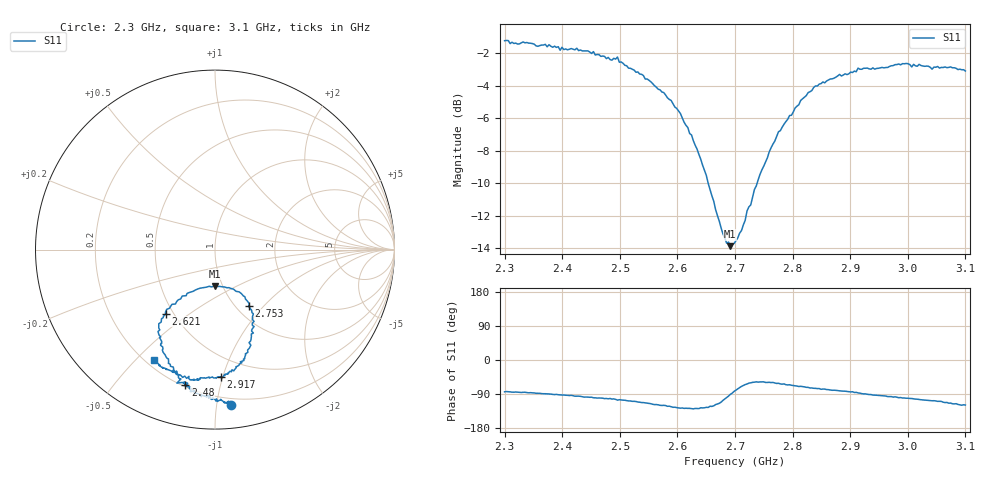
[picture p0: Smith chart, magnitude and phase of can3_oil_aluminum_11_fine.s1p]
# MHz S MA R 50
!  freq  S11
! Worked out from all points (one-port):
!   250 points, 2.3 GHz to 3.1 GHz, reference 50 ohm
!   lowest |S11| = -13.9 dB at 2.692 GHz (marker M1), VSWR 1.51, Z = 45.9 - j19.4 ohm
!   |S11| at or under -10 dB: 2.653 GHz to 2.738 GHz (84.86 MHz wide, 3.15 % of centre)
!   S11 on the Smith chart (normalised r, x): 2.3 GHz: 0.16, -1.10; 2.48 GHz: 0.21, -0.78; 2.621 GHz: 0.46, -0.41; 2.753 GHz: 1.14, -0.83; 2.917 GHz: 0.34, -0.98; 3.1 GHz: 0.23, -0.57
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2300  0.8684 -83.9
2335.341  0.8554 -85.2
2402.811  0.8154 -92.4
2425.301  0.8232 -95.3
2479.92  0.7714 -102.4
2489.558  0.7666 -102.6
2495.984  0.7736 -105.9
2502.41  0.747 -105.3
2560.241  0.6314 -117.7
2602.008  0.5278 -126.4
2621.285  0.45 -127.6
2653.414  0.3165 -125.2
2679.116  0.2211 -106.5
2691.968  0.2027 -90.6
2701.606  0.2106 -79.5
2733.735  0.3028 -58.5
2753.012  0.3678 -59.2
2775.502  0.4556 -61.5
2801.205  0.5245 -67.2
2839.759  0.6303 -74.8
2900.803  0.6954 -84.2
2916.867  0.7095 -87.5
2939.357  0.7164 -92.5
3000.402  0.738 -100.9
3058.233  0.7188 -109.3
3064.659  0.7211 -112.3
3093.574  0.707 -119.4
3100  0.7006 -118.8
